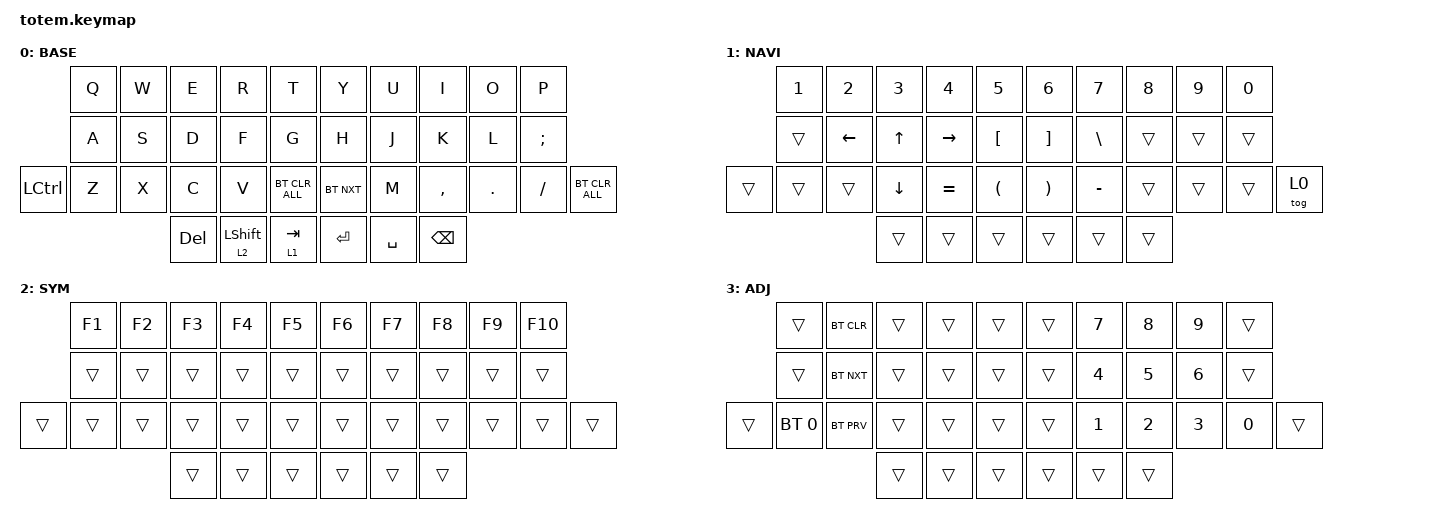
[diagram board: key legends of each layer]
//
//                                                        ▀▀▀▀▀     ▀▀▀▀▀          ▀▀█▀▀
//                                                        ▄▀▀▀▄  ▄  ▄▀▀▀▄  ▄  ▄▀▀▀▄  █  ▄▀▀▀▄
//                                                        █   █  █  █   █  █  █   █  █  █   █
//                                                         ▀▀▀   █   ▀▀▀   █   ▀▀▀   ▀   ▀▀▀
//                                                               █      ▄▄▄█▄▄▄    █   █  
//                                                               ▀      █  █  █     █▄█
//                                                             ▀▀▀▀▀    █  █  █      ▀
//                                                                      ▀  ▀  ▀
//
// ▄▄▄▄▄▄▄▄▄▄▄▄▄▄▄▄▄▄▄▄▄▄▄▄▄▄▄▄▄▄▄▄▄▄▄▄▄▄▄▄▄▄▄▄▄▄▄▄▄▄▄▄▄▄▄▄▄▄▄▄▄▄▄▄▄▄▄▄▄▄▄▄▄▄▄▄▄▄▄▄▄▄▄▄▄▄▄▄▄▄▄▄▄▄▄▄▄▄▄▄▄▄▄▄▄▄▄▄▄▄▄▄▄▄▄▄▄▄▄▄▄▄▄▄▄▄▄▄▄▄▄▄▄▄▄▄▄▄▄▄▄▄▄▄▄▄▄▄▄

#include <behaviors.dtsi>
#include <dt-bindings/zmk/bt.h>
#include <dt-bindings/zmk/keys.h>

#define BASE 0
#define NAV  1
#define SYM  2
#define ADJ  3
#define TVP1 4
#define TVP2 5

&mt {
    quick-tap-ms = <100>;
    global-quick-tap;
    flavor = "tap-preferred";
    tapping-term-ms = <170>;
};

/ {
    combos {
        compatible = "zmk,combos";

        combo_esc {
            timeout-ms = <50>;
            key-positions = <20 32>;
            bindings = <&kp ESC>;
        };

        layer1 {
            bindings = <&tog 1>;
            key-positions = <33 36>;
        };

        Layer2 {
            bindings = <&tog 2>;
            key-positions = <32 37>;
        };

        Layer3 {
            bindings = <&tog 3>;
            key-positions = <20 31>;
        };

        Caps {
            bindings = <&kp CAPS>;
            key-positions = <34 35>;
        };
    };

    macros {
        gif: gif {
            label = "giphy";
            compatible = "zmk,behavior-macro";
            #binding-cells = <0>;
            bindings =
                <&macro_press>,
                <&kp LSHFT>,
                <&macro_tap>,
                <&kp N2>,
                <&macro_release>,
                <&kp LSHFT>,
                <&macro_tap>,
                <&kp G &kp I &kp F>;
        };
    };

    keymap {
        compatible = "zmk,keymap";

        // ▄▄▄▄▄▄▄▄▄▄▄▄▄▄▄▄▄▄▄▄▄▄▄▄▄▄▄▄▄▄▄▄▄▄▄▄▄▄▄▄▄▄▄▄▄▄▄▄▄▄▄▄▄▄▄▄▄▄▄▄▄▄▄▄▄▄▄▄▄▄▄▄▄▄▄▄▄▄▄▄▄▄▄▄▄▄▄▄▄▄▄▄▄▄▄▄▄▄▄▄▄▄▄▄▄▄▄▄▄▄▄▄▄▄▄▄▄▄▄▄▄▄▄▄▄▄▄▄▄▄▄▄▄▄▄▄▄▄▄▄▄▄▄▄▄▄▄▄▄

        base_layer {
            // ┏━━━━━━━━━━━━━━━━━━━━━━━━━━━━━━━━━━━━━━━┓

            label = "BASE";

            // ┗━━━━━━━━━━━━━━━━━━━━━━━━━━━━━━━━━━━━━━━┛
            //             ┏━━━━━━━━━━━┳━━━━━━━━━━━┳━━━━━━━━━━━┳━━━━━━━━━━━┳━━━━━━━━━━━┓   ┏━━━━━━━━━━━┳━━━━━━━━━━━┳━━━━━━━━━━━┳━━━━━━━━━━━┳━━━━━━━━━━━┓
            //             ┃     Q     ┃     W     ┃     F     ┃     P     ┃     G     ┃   ┃     J     ┃     L     ┃     U     ┃     Y     ┃     ;     ┃
            //             ┣━━━━━━━━━━━╋━━━━━━━━━━━╋━━━━━━━━━━━╋━━━━━━━━━━━╋━━━━━━━━━━━┫   ┣━━━━━━━━━━━╋━━━━━━━━━━━╋━━━━━━━━━━━╋━━━━━━━━━━━╋━━━━━━━━━━━┫
            //             ┃     A     ┃     R     ┃     S     ┃     T     ┃     D     ┃   ┃     H     ┃     N     ┃     E     ┃     I     ┃     O     ┃
            // ┏━━━━━━━━━━━╋━━━━━━━━━━━╋━━━━━━━━━━━╋━━━━━━━━━━━╋━━━━━━━━━━━╋━━━━━━━━━━━┫   ┣━━━━━━━━━━━╋━━━━━━━━━━━╋━━━━━━━━━━━╋━━━━━━━━━━━╋━━━━━━━━━━━╋━━━━━━━━━━━┓
            // ┃     Q     ┃     Z     ┃     X     ┃     C     ┃     V     ┃     B     ┃   ┃     K     ┃     M     ┃     ,     ┃     .     ┃     /     ┃     \     ┃
            // ┗━━━━━━━━━━━┻━━━━━━━━━━━┻━━━━━━━━━━━╋━━━━━━━━━━━╋━━━━━━━━━━━╋━━━━━━━━━━━┫   ┣━━━━━━━━━━━╋━━━━━━━━━━━╋━━━━━━━━━━━╋━━━━━━━━━━━┻━━━━━━━━━━━┻━━━━━━━━━━━┛
            //                                     ┃    DEL    ┃    TAB    ┃    SPC    ┃   ┃   ENTER   ┃           ┃   BSPC    ┃
            //                                     ┗━━━━━━━━━━━┻━━━━━━━━━━━┻━━━━━━━━━━━┛   ┗━━━━━━━━━━━┻━━━━━━━━━━━┻━━━━━━━━━━━┛

            bindings = <
                  &kp Q  &kp W  &kp E    &kp R             &kp T             &kp Y       &kp U      &kp I      &kp O    &kp P
                  &kp A  &kp S  &kp D    &kp F             &kp G             &kp H       &kp J      &kp K      &kp L    &kp SEMI
&kp LEFT_CONTROL  &kp Z  &kp X  &kp C    &kp V             &bt BT_CLR_ALL    &bt BT_NXT  &kp M      &kp COMMA  &kp DOT  &kp FSLH  &bt BT_CLR_ALL
                                &kp DEL  &lt 2 LEFT_SHIFT  &lt 1 TAB         &kp RET     &kp SPACE  &kp BSPC
            >;
        };

        // ▄▄▄▄▄▄▄▄▄▄▄▄▄▄▄▄▄▄▄▄▄▄▄▄▄▄▄▄▄▄▄▄▄▄▄▄▄▄▄▄▄▄▄▄▄▄▄▄▄▄▄▄▄▄▄▄▄▄▄▄▄▄▄▄▄▄▄▄▄▄▄▄▄▄▄▄▄▄▄▄▄▄▄▄▄▄▄▄▄▄▄▄▄▄▄▄▄▄▄▄▄▄▄▄▄▄▄▄▄▄▄▄▄▄▄▄▄▄▄▄▄▄▄▄▄▄▄▄▄▄▄▄▄▄▄▄▄▄▄▄▄▄▄▄▄▄▄▄▄

        nav_layer {
            // ┏━━━━━━━━━━━━━━━━━━━━━━━━━━━━━━━━━━━━━━━┓

            label = "NAVI";

            // ┗━━━━━━━━━━━━━━━━━━━━━━━━━━━━━━━━━━━━━━━┛
            //             ┏━━━━━━━━━━━┳━━━━━━━━━━━┳━━━━━━━━━━━┳━━━━━━━━━━━┳━━━━━━━━━━━┓   ┏━━━━━━━━━━━┳━━━━━━━━━━━┳━━━━━━━━━━━┳━━━━━━━━━━━┳━━━━━━━━━━━┓
            //             ┃           ┃           ┃     UP    ┃           ┃     {     ┃   ┃     }     ┃     7     ┃     8     ┃     9     ┃     +     ┃
            //             ┣━━━━━━━━━━━╋━━━━━━━━━━━╋━━━━━━━━━━━╋━━━━━━━━━━━╋━━━━━━━━━━━┫   ┣━━━━━━━━━━━╋━━━━━━━━━━━╋━━━━━━━━━━━╋━━━━━━━━━━━╋━━━━━━━━━━━┫
            //             ┃   SHIFT   ┃   LEFT    ┃    DOWN   ┃   RIGHT   ┃     [     ┃   ┃     ]     ┃     4     ┃     5     ┃     6     ┃     -     ┃
            // ┏━━━━━━━━━━━╋━━━━━━━━━━━╋━━━━━━━━━━━╋━━━━━━━━━━━╋━━━━━━━━━━━╋━━━━━━━━━━━┫   ┣━━━━━━━━━━━╋━━━━━━━━━━━╋━━━━━━━━━━━╋━━━━━━━━━━━╋━━━━━━━━━━━╋━━━━━━━━━━━┓
            // ┃           ┃           ┃   P UP    ┃  C LOCK   ┃  P DOWN   ┃     (     ┃   ┃     )     ┃     1     ┃     2     ┃     3     ┃     *     ┃           ┃
            // ┗━━━━━━━━━━━┻━━━━━━━━━━━┻━━━━━━━━━━━╋━━━━━━━━━━━╋━━━━━━━━━━━╋━━━━━━━━━━━┫   ┣━━━━━━━━━━━╋━━━━━━━━━━━╋━━━━━━━━━━━╋━━━━━━━━━━━┻━━━━━━━━━━━┻━━━━━━━━━━━┛
            //                                     ┃           ┃    TAB    ┃    SPC    ┃   ┃    DEL    ┃     0     ┃           ┃
            //                                     ┗━━━━━━━━━━━┻━━━━━━━━━━━┻━━━━━━━━━━━┛   ┗━━━━━━━━━━━┻━━━━━━━━━━━┻━━━━━━━━━━━┛

            bindings = <
        &kp N1  &kp N2    &kp N3    &kp N4     &kp N5      &kp N6    &kp N7     &kp N8  &kp N9  &kp N0
        &trans  &kp LEFT  &kp UP    &kp RIGHT  &kp LBKT    &kp RBKT  &kp BSLH   &trans  &trans  &trans
&trans  &trans  &trans    &kp DOWN  &kp EQUAL  &kp LPAR    &kp RPAR  &kp MINUS  &trans  &trans  &trans  &tog 0
                          &trans    &trans     &trans      &trans    &trans     &trans
            >;
        };

        // ▄▄▄▄▄▄▄▄▄▄▄▄▄▄▄▄▄▄▄▄▄▄▄▄▄▄▄▄▄▄▄▄▄▄▄▄▄▄▄▄▄▄▄▄▄▄▄▄▄▄▄▄▄▄▄▄▄▄▄▄▄▄▄▄▄▄▄▄▄▄▄▄▄▄▄▄▄▄▄▄▄▄▄▄▄▄▄▄▄▄▄▄▄▄▄▄▄▄▄▄▄▄▄▄▄▄▄▄▄▄▄▄▄▄▄▄▄▄▄▄▄▄▄▄▄▄▄▄▄▄▄▄▄▄▄▄▄▄▄▄▄▄▄▄▄▄▄▄▄

        sim_layer {
            // ┏━━━━━━━━━━━━━━━━━━━━━━━━━━━━━━━━━━━━━━━┓

            label = "SYM";

            // ┗━━━━━━━━━━━━━━━━━━━━━━━━━━━━━━━━━━━━━━━┛
            //             ┏━━━━━━━━━━━┳━━━━━━━━━━━┳━━━━━━━━━━━┳━━━━━━━━━━━┳━━━━━━━━━━━┓   ┏━━━━━━━━━━━┳━━━━━━━━━━━┳━━━━━━━━━━━┳━━━━━━━━━━━┳━━━━━━━━━━━┓
            //             ┃     !     ┃     @     ┃     #     ┃     $     ┃     %     ┃   ┃     ˆ     ┃     &     ┃     Ü     ┃     '     ┃     "     ┃
            //             ┣━━━━━━━━━━━╋━━━━━━━━━━━╋━━━━━━━━━━━╋━━━━━━━━━━━╋━━━━━━━━━━━┫   ┣━━━━━━━━━━━╋━━━━━━━━━━━╋━━━━━━━━━━━╋━━━━━━━━━━━╋━━━━━━━━━━━┫
            //             ┃     Ä     ┃           ┃    SZ     ┃           ┃           ┃   ┃   MUTE    ┃   YEN     ┃   EURO    ┃  POUND    ┃     Ö     ┃
            // ┏━━━━━━━━━━━╋━━━━━━━━━━━╋━━━━━━━━━━━╋━━━━━━━━━━━╋━━━━━━━━━━━╋━━━━━━━━━━━┫   ┣━━━━━━━━━━━╋━━━━━━━━━━━╋━━━━━━━━━━━╋━━━━━━━━━━━╋━━━━━━━━━━━╋━━━━━━━━━━━┓
            // ┃           ┃  EMAIL1   ┃  EMAIL2   ┃           ┃           ┃           ┃   ┃   VOL-    ┃   VOL+    ┃   LAST    ┃   NEXT    ┃     \     ┃           ┃
            // ┗━━━━━━━━━━━┻━━━━━━━━━━━┻━━━━━━━━━━━╋━━━━━━━━━━━╋━━━━━━━━━━━╋━━━━━━━━━━━┫   ┣━━━━━━━━━━━╋━━━━━━━━━━━╋━━━━━━━━━━━╋━━━━━━━━━━━┻━━━━━━━━━━━┻━━━━━━━━━━━┛
            //                                     ┃           ┃    GIF    ┃    ADJ    ┃   ┃           ┃           ┃           ┃
            //                                     ┗━━━━━━━━━━━┻━━━━━━━━━━━┻━━━━━━━━━━━┛   ┗━━━━━━━━━━━┻━━━━━━━━━━━┻━━━━━━━━━━━┛

            bindings = <
        &kp F1  &kp F2  &kp F3  &kp F4  &kp F5    &kp F6  &kp F7  &kp F8  &kp F9  &kp F10
        &trans  &trans  &trans  &trans  &trans    &trans  &trans  &trans  &trans  &trans
&trans  &trans  &trans  &trans  &trans  &trans    &trans  &trans  &trans  &trans  &trans   &trans
                        &trans  &trans  &trans    &trans  &trans  &trans
            >;
        };

        // ▄▄▄▄▄▄▄▄▄▄▄▄▄▄▄▄▄▄▄▄▄▄▄▄▄▄▄▄▄▄▄▄▄▄▄▄▄▄▄▄▄▄▄▄▄▄▄▄▄▄▄▄▄▄▄▄▄▄▄▄▄▄▄▄▄▄▄▄▄▄▄▄▄▄▄▄▄▄▄▄▄▄▄▄▄▄▄▄▄▄▄▄▄▄▄▄▄▄▄▄▄▄▄▄▄▄▄▄▄▄▄▄▄▄▄▄▄▄▄▄▄▄▄▄▄▄▄▄▄▄▄▄▄▄▄▄▄▄▄▄▄▄▄▄▄▄▄▄▄

        adjust_layer {
            // ┏━━━━━━━━━━━━━━━━━━━━━━━━━━━━━━━━━━━━━━━┓

            label = "ADJ";

            // ┗━━━━━━━━━━━━━━━━━━━━━━━━━━━━━━━━━━━━━━━┛
            //             ┏━━━━━━━━━━━┳━━━━━━━━━━━┳━━━━━━━━━━━┳━━━━━━━━━━━┳━━━━━━━━━━━┓   ┏━━━━━━━━━━━┳━━━━━━━━━━━┳━━━━━━━━━━━┳━━━━━━━━━━━┳━━━━━━━━━━━┓
            //             ┃   RESET   ┃ BT CLEAR  ┃  OUT TOG  ┃           ┃           ┃   ┃           ┃    F7     ┃    F8     ┃    F9     ┃    F12    ┃
            //             ┣━━━━━━━━━━━╋━━━━━━━━━━━╋━━━━━━━━━━━╋━━━━━━━━━━━╋━━━━━━━━━━━┫   ┣━━━━━━━━━━━╋━━━━━━━━━━━╋━━━━━━━━━━━╋━━━━━━━━━━━╋━━━━━━━━━━━┫
            //             ┃ BOOTLOAD  ┃ BT NEXT   ┃           ┃           ┃           ┃   ┃           ┃    F4     ┃    F5     ┃    F6     ┃    F11    ┃
            // ┏━━━━━━━━━━━╋━━━━━━━━━━━╋━━━━━━━━━━━╋━━━━━━━━━━━╋━━━━━━━━━━━╋━━━━━━━━━━━┫   ┣━━━━━━━━━━━╋━━━━━━━━━━━╋━━━━━━━━━━━╋━━━━━━━━━━━╋━━━━━━━━━━━╋━━━━━━━━━━━┓
            // ┃           ┃           ┃ BT PREV   ┃           ┃           ┃           ┃   ┃           ┃    F1     ┃    F2     ┃    F3     ┃    F10    ┃           ┃
            // ┗━━━━━━━━━━━┻━━━━━━━━━━━┻━━━━━━━━━━━╋━━━━━━━━━━━╋━━━━━━━━━━━╋━━━━━━━━━━━┫   ┣━━━━━━━━━━━╋━━━━━━━━━━━╋━━━━━━━━━━━╋━━━━━━━━━━━┻━━━━━━━━━━━┻━━━━━━━━━━━┛
            //                                     ┃           ┃           ┃           ┃   ┃           ┃           ┃           ┃
            //                                     ┗━━━━━━━━━━━┻━━━━━━━━━━━┻━━━━━━━━━━━┛   ┗━━━━━━━━━━━┻━━━━━━━━━━━┻━━━━━━━━━━━┛

            bindings = <
        &trans        &bt BT_CLR  &trans  &trans  &trans    &trans  &kp N7  &kp N8  &kp N9  &trans
        &trans        &bt BT_NXT  &trans  &trans  &trans    &trans  &kp N4  &kp N5  &kp N6  &trans
&trans  &bt BT_SEL 0  &bt BT_PRV  &trans  &trans  &trans    &trans  &kp N1  &kp N2  &kp N3  &kp N0  &trans
                                  &trans  &trans  &trans    &trans  &trans  &trans
            >;
        };

        // ▄▄▄▄▄▄▄▄▄▄▄▄▄▄▄▄▄▄▄▄▄▄▄▄▄▄▄▄▄▄▄▄▄▄▄▄▄▄▄▄▄▄▄▄▄▄▄▄▄▄▄▄▄▄▄▄▄▄▄▄▄▄▄▄▄▄▄▄▄▄▄▄▄▄▄▄▄▄▄▄▄▄▄▄▄▄▄▄▄▄▄▄▄▄▄▄▄▄▄▄▄▄▄▄▄▄▄▄▄▄▄▄▄▄▄▄▄▄▄▄▄▄▄▄▄▄▄▄▄▄▄▄▄▄▄▄▄▄▄▄▄▄▄▄▄▄▄▄▄
        // ▄▄▄▄▄▄▄▄▄▄▄▄▄▄▄▄▄▄▄▄▄▄▄▄▄▄▄▄▄▄▄▄▄▄▄▄▄▄▄▄▄▄▄▄▄▄▄▄▄▄▄▄▄▄▄▄▄▄▄▄▄▄▄▄▄▄▄▄▄▄▄▄▄▄▄▄▄▄▄▄▄▄▄▄▄▄▄▄▄▄▄▄▄▄▄▄▄▄▄▄▄▄▄▄▄▄▄▄▄▄▄▄▄▄▄▄▄▄▄▄▄▄▄▄▄▄▄▄▄▄▄▄▄▄▄▄▄▄▄▄▄▄▄▄▄▄▄▄▄
    };
};
